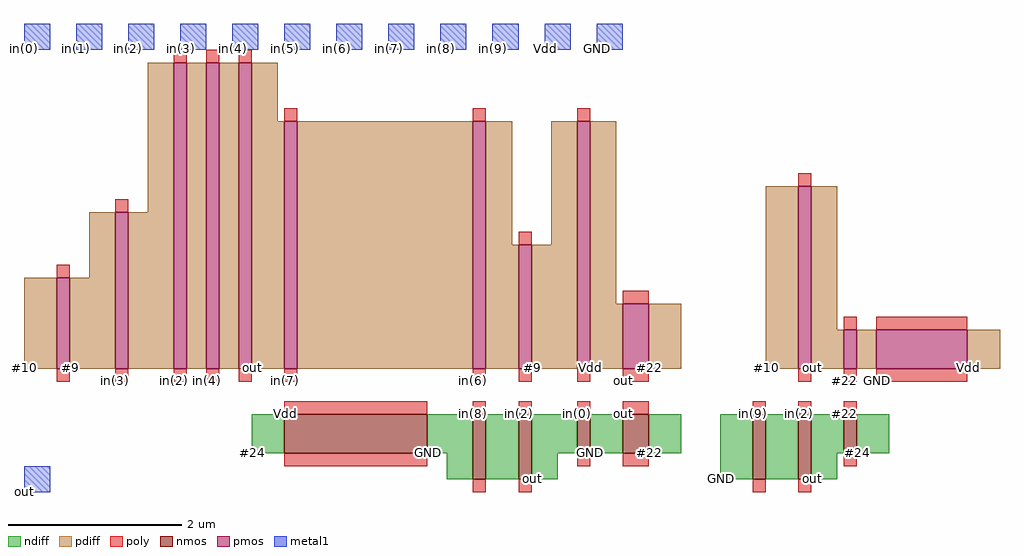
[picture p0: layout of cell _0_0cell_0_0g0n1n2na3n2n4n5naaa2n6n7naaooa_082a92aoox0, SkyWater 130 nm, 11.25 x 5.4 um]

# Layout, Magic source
magic
tech sky130A
magscale 1 2
<< nmos >>
rect 720 150 1050 240
rect 1155 90 1185 240
rect 1260 90 1290 240
rect 1395 150 1425 240
rect 1500 150 1560 240
rect 1800 90 1830 240
rect 1905 90 1935 240
rect 2010 150 2040 240
<< pmos >>
rect 195 345 225 555
rect 330 345 360 705
rect 465 345 495 1050
rect 540 345 570 1050
rect 615 345 645 1050
rect 720 345 750 915
rect 1155 345 1185 915
rect 1260 345 1290 630
rect 1395 345 1425 915
rect 1500 345 1560 495
rect 1905 345 1935 765
rect 2010 345 2040 435
rect 2085 345 2295 435
<< ndiff >>
rect 645 150 720 240
rect 1050 150 1155 240
rect 1095 90 1155 150
rect 1185 90 1260 240
rect 1290 150 1395 240
rect 1425 150 1500 240
rect 1560 150 1635 240
rect 1290 90 1350 150
rect 1725 90 1800 240
rect 1830 90 1905 240
rect 1935 150 2010 240
rect 2040 150 2115 240
rect 1935 90 1995 150
<< pdiff >>
rect 405 705 465 1050
rect 270 555 330 705
rect 120 345 195 555
rect 225 345 330 555
rect 360 345 465 705
rect 495 345 540 1050
rect 570 345 615 1050
rect 645 915 705 1050
rect 645 345 720 915
rect 750 345 1155 915
rect 1185 630 1245 915
rect 1335 630 1395 915
rect 1185 345 1260 630
rect 1290 345 1395 630
rect 1425 495 1485 915
rect 1425 345 1500 495
rect 1560 345 1635 495
rect 1830 345 1905 765
rect 1935 435 1995 765
rect 1935 345 2010 435
rect 2040 345 2085 435
rect 2295 345 2370 435
<< poly >>
rect 465 1050 495 1080
rect 540 1050 570 1080
rect 615 1050 645 1080
rect 330 705 360 735
rect 195 555 225 585
rect 720 915 750 945
rect 1155 915 1185 945
rect 1395 915 1425 945
rect 1260 630 1290 660
rect 1905 765 1935 795
rect 1500 495 1560 525
rect 2010 435 2040 465
rect 2085 435 2295 465
rect 195 315 225 345
rect 330 315 360 345
rect 465 315 495 345
rect 540 315 570 345
rect 615 315 645 345
rect 720 315 750 345
rect 1155 315 1185 345
rect 1260 315 1290 345
rect 1395 315 1425 345
rect 1500 315 1560 345
rect 1905 315 1935 345
rect 2010 315 2040 345
rect 2085 315 2295 345
rect 720 240 1050 270
rect 1155 240 1185 270
rect 1260 240 1290 270
rect 1395 240 1425 270
rect 1500 240 1560 270
rect 1800 240 1830 270
rect 1905 240 1935 270
rect 2010 240 2040 270
rect 720 120 1050 150
rect 1395 120 1425 150
rect 1500 120 1560 150
rect 2010 120 2040 150
rect 1155 60 1185 90
rect 1260 60 1290 90
rect 1800 60 1830 90
rect 1905 60 1935 90
<< metal1 >>
rect 120 1080 180 1140
rect 240 1080 300 1140
rect 360 1080 420 1140
rect 480 1080 540 1140
rect 600 1080 660 1140
rect 720 1080 780 1140
rect 840 1080 900 1140
rect 960 1080 1020 1140
rect 1080 1080 1140 1140
rect 1200 1080 1260 1140
rect 1320 1080 1380 1140
rect 1440 1080 1500 1140
rect 120 60 180 120
<< labels >>
rlabel pdiff 1562 347 1562 347 3 #22
rlabel pdiff 1427 347 1427 347 3 Vdd
rlabel pdiff 1292 347 1292 347 3 #9
rlabel poly 1502 317 1502 317 3 out
rlabel poly 1397 317 1397 317 3 in(0)
rlabel poly 1262 317 1262 317 3 in(2)
rlabel ndiff 1562 152 1562 152 3 #22
rlabel poly 1502 242 1502 242 3 out
rlabel poly 1157 317 1157 317 3 in(6)
rlabel pdiff 647 347 647 347 3 out
rlabel ndiff 1427 152 1427 152 3 GND
rlabel poly 1397 242 1397 242 3 in(0)
rlabel poly 722 317 722 317 3 in(7)
rlabel poly 617 317 617 317 3 in(5)
rlabel ndiff 1292 92 1292 92 3 out
rlabel poly 1262 242 1262 242 3 in(2)
rlabel poly 542 317 542 317 3 in(4)
rlabel poly 1157 242 1157 242 3 in(8)
rlabel poly 467 317 467 317 3 in(2)
rlabel ndiff 1052 152 1052 152 3 GND
rlabel poly 722 242 722 242 3 Vdd
rlabel poly 332 317 332 317 3 in(3)
rlabel ndiff 647 152 647 152 3 #24
rlabel pdiff 227 347 227 347 3 #9
rlabel poly 197 317 197 317 3 in(1)
rlabel pdiff 122 347 122 347 3 #10
rlabel pdiff 2297 347 2297 347 3 Vdd
rlabel poly 2087 317 2087 317 3 GND
rlabel ndiff 2042 152 2042 152 3 #24
rlabel poly 2012 242 2012 242 3 #22
rlabel poly 2012 317 2012 317 3 #22
rlabel ndiff 1937 92 1937 92 3 out
rlabel pdiff 1937 347 1937 347 3 out
rlabel poly 1907 242 1907 242 3 in(2)
rlabel poly 1907 317 1907 317 3 in(2)
rlabel pdiff 1832 347 1832 347 3 #10
rlabel poly 1802 242 1802 242 3 in(9)
rlabel ndiff 1727 92 1727 92 3 GND
rlabel metal1 1442 1082 1442 1082 3 GND
port 1 e
rlabel metal1 1322 1082 1322 1082 3 Vdd
port 2 e
rlabel metal1 1202 1082 1202 1082 3 in(9)
port 3 e
rlabel metal1 1082 1082 1082 1082 3 in(8)
port 4 e
rlabel metal1 962 1082 962 1082 3 in(7)
port 5 e
rlabel metal1 842 1082 842 1082 3 in(6)
port 6 e
rlabel metal1 722 1082 722 1082 3 in(5)
port 7 e
rlabel metal1 602 1082 602 1082 3 in(4)
port 8 e
rlabel metal1 482 1082 482 1082 3 in(3)
port 9 e
rlabel metal1 362 1082 362 1082 3 in(2)
port 10 e
rlabel metal1 242 1082 242 1082 3 in(1)
port 11 e
rlabel metal1 122 62 122 62 3 out
port 12 e
rlabel metal1 122 1082 122 1082 3 in(0)
port 13 e
<< end >>
